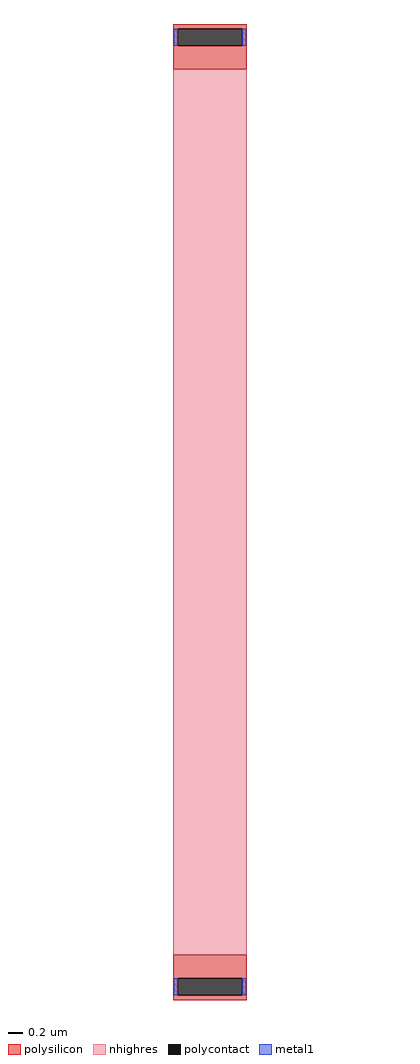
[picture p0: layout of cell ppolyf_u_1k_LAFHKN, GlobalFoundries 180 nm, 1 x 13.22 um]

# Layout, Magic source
magic
tech gf180mcuD
magscale 1 10
<< polysilicon >>
rect -100 1309 100 1322
rect -100 1263 -87 1309
rect 87 1263 100 1309
rect -100 1200 100 1263
rect -100 -1263 100 -1200
rect -100 -1309 -87 -1263
rect 87 -1309 100 -1263
rect -100 -1322 100 -1309
<< polycontact >>
rect -87 1263 87 1309
rect -87 -1309 87 -1263
<< nhighres >>
rect -100 -1200 100 1200
<< metal1 >>
rect -98 1263 -87 1309
rect 87 1263 98 1309
rect -98 -1309 -87 -1263
rect 87 -1309 98 -1263
<< properties >>
string gencell ppolyf_u_1k
string library gf180mcu
string parameters w 1.0 l 12.0 m 1 nx 1 wmin 1.000 lmin 1.000 class resistor rho 1000 val 12.366k dummy 0 dw 0.0296 term 0.0 sterm 0.0 caplen 0.4 snake 0 glc 0 grc 0 gtc 0 gbc 0 roverlap 0 endcov 100 full_metal 0 guard 0 guard_type pwell compatible {ppolyf_u_1k ppolyf_u_1k_6p0}
<< end >>
